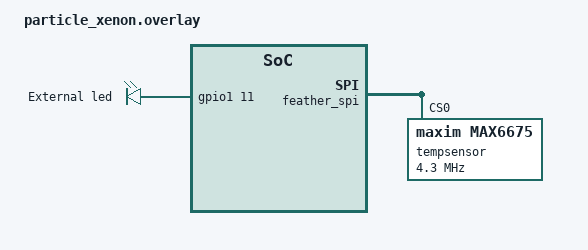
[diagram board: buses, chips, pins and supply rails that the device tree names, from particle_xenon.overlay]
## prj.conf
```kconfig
CONFIG_NCS_SAMPLES_DEFAULTS=y

# For math.h
CONFIG_NEWLIB_LIBC=y

# Bluetooth configs
CONFIG_BT=y
CONFIG_BT_PERIPHERAL=y
CONFIG_BT_MAX_CONN=2


#GPIO configs
CONFIG_GPIO=y

#Floating point number print 
CONFIG_CBPRINTF_FP_SUPPORT=y

#SPI
CONFIG_SPI=y

#SENSOR LIBRARY
CONFIG_SENSOR=y

#Debugging via RTT
CONFIG_USE_SEGGER_RTT=y
CONFIG_RTT_CONSOLE=y
CONFIG_UART_CONSOLE=n
```

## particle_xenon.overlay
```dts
// To get started, press Ctrl+Space to bring up the completion menu and view the available nodes.

// You can also use the buttons in the sidebar to perform actions on nodes.
// Actions currently available include:

// * Enabling / disabling the node
// * Adding the bus to a bus
// * Removing the node
// * Connecting ADC channels

// For more help, browse the DeviceTree documentation at https://docs.zephyrproject.org/latest/guides/dts/index.html
// You can also visit the nRF DeviceTree extension documentation at https://nrfconnect.github.io/vscode-nrf-connect/devicetree/nrfdevicetree.html

&feather_spi
 {
	tempsensor: max6675@0 {
		compatible = "maxim,max6675";
		reg = <0>;
		spi-max-frequency = <4300000>;
	};
};

/{
aliases {
	ledext = &ext_led;
};

leds {
	compatible = "gpio-leds";
	ext_led: led_0 {
		gpios = <&gpio1 11 GPIO_ACTIVE_HIGH>;
		label = "External led";
	};
};
};
```

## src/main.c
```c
/*
 * Copyright (c) 2012-2014 Wind River Systems, Inc.
 *
 * SPDX-License-Identifier: Apache-2.0
 */

#include <zephyr/kernel.h>

//For rounding
#include <math.h>

//bluetooth include files
#include <zephyr/bluetooth/bluetooth.h>
#include <zephyr/bluetooth/conn.h>
#include <zephyr/bluetooth/gatt.h>
#include <zephyr/bluetooth/services/bas.h>
#include <zephyr/bluetooth/uuid.h>

// Max6675 sensor include files
#include <zephyr/drivers/sensor.h>
#include <zephyr/device.h>



// Device name and device name length used in advertising data
#define DEVICE_NAME "Temperature Monitoring Device"
#define DEVICE_NAME_LEN (sizeof(DEVICE_NAME) - 1)

//GPIO
#include <zephyr/drivers/gpio.h>

#define LED1_NODE DT_ALIAS(ledext)
static const struct gpio_dt_spec led = GPIO_DT_SPEC_GET(LED1_NODE, gpios);

// Bluetooth advertising data
static const struct bt_data ad[] = {
    BT_DATA_BYTES(BT_DATA_FLAGS, (BT_LE_AD_GENERAL | BT_LE_AD_NO_BREDR)),
    BT_DATA(BT_DATA_NAME_COMPLETE, DEVICE_NAME, DEVICE_NAME_LEN),
};

// Service: temperature service UUID B9A4A778-4BD5-4FC9-9885-FEC0C5531307
static struct bt_uuid_128 temperature_service_uuid =
    BT_UUID_INIT_128(0x07, 0x13, 0x53, 0xC5, 0xC0, 0xFE, 0x85, 0x98, 0xC9, 0x4F, 0xD5, 0x4B, 0x78, 0xA7, 0xA4, 0xB9);

// Charasteristic: Temperature value UUID Charasteristic UUID B9A4A779-4BD5-4FC9-9885-FEC0C5531307
static struct bt_uuid_128 temp_value_uuid =
    BT_UUID_INIT_128(0x07, 0x13, 0x53, 0xC5, 0xC0, 0xFE, 0x85, 0x98, 0xC9, 0x4F, 0xD5, 0x4B, 0x79, 0xA7, 0xA4, 0xB9);

// When notification status is changed this function is called
int subsc = 0;
void on_cccd_changed(const struct bt_gatt_attr *attr, uint16_t value)
{
    ARG_UNUSED(attr);
    switch (value)
    {
    case BT_GATT_CCC_NOTIFY:

        subsc = 1;
        printk("bt_gatt sub %d", subsc);
        break;

    case 0:
        subsc = 0;
        printk("bt_gatt unsub %d", subsc);
        // Stop sending stuff
        break;

    default:
        printk("Error, CCCD has been set to an invalid value");
    }
}

// Instantiate the service and charasteristics
BT_GATT_SERVICE_DEFINE(
    // service
    temperature_service, BT_GATT_PRIMARY_SERVICE(&temperature_service_uuid),

    // Temperature value characteristic
    // properties:read
    BT_GATT_CHARACTERISTIC(&temp_value_uuid,
                           BT_GATT_CHRC_NOTIFY,
                           BT_GATT_PERM_READ,
                           NULL,
                           NULL,
                           NULL),
    BT_GATT_CCC(on_cccd_changed,
                BT_GATT_PERM_READ | BT_GATT_PERM_WRITE), );



struct bt_conn *my_connection;

// Connected callback function called when connected to device
static void connected_cb(struct bt_conn *conn, uint8_t err)
{
    my_connection = conn;

    if (err)
    {
        printk("Connection failed with err %d\n", err);
    }
    else
    {
        printk("Connection succesfull!");
    }
}

// Disconnected callback function
static void disconnected_cb(struct bt_conn *conn, uint8_t reason)
{
    printk("Disconnected with reason %d\n", reason);
}

// Connection callback structure
static struct bt_conn_cb conn_callbacks = {
    .connected = connected_cb,
    .disconnected = disconnected_cb,
};

// Measure ten values and return average of values
double averageMeasurement(const struct device *const dev){
        double avg = 0;
        double sum = 0;
        double values[] = {0.0, 0.0, 0.0, 0.0, 0.0, 0.0, 0.0, 0.0, 0.0, 0.0};
        double tempd;
        int ret;


        //Struct for sensor value
        struct sensor_value val;

        for(int i = 0; i < 10; i++){
            // Fetching sample
            ret = sensor_sample_fetch_chan(dev, SENSOR_CHAN_AMBIENT_TEMP);
            if (ret < 0)
            {
                printk("Could not fetch temperature (%d)\n", ret);

            }

            // Getting value
            ret = sensor_channel_get(dev, SENSOR_CHAN_AMBIENT_TEMP, &val);
            if (ret < 0)
            {
                printk("Could not get temperature (%d)\n", ret);

            }

            tempd = sensor_value_to_double(&val);
            values[i] = tempd;
            k_sleep(K_SECONDS(1));
        }

        for (int i = 0; i < 10; i++){
            sum = sum + values[i];

        }
        avg = sum / 10;
        return avg;
}

void main(void)
{
    // Temperature sensor (amplifier)
    const struct device *const dev = DEVICE_DT_GET_ONE(maxim_max6675);

    //For checking that temperature sensor is ready
    if (!device_is_ready(dev))
    {
        printk("Sensor: device not ready.\n");

    }

	int err;
	// Initialize the bluetooth stack
    err = bt_enable(NULL);
    if (err)
    {
        printk("Bluetooth init failed (err %d)\n", err);
        return;
    }
    printk("Bluetooth stack init succeess \n");

    // Register for connection callbacks
    bt_conn_cb_register(&conn_callbacks);
    if (err)
    {
        printk("Conn CB registration failed (err %d)\n", err);
        return;
    }

    // Start for advertising
    err = bt_le_adv_start(BT_LE_ADV_CONN, ad, ARRAY_SIZE(ad), NULL, 0);
    if (err)
    {
        printk("Advertising start failed with err %d\n", err);
        return;
    }

    printk("Bluetooth advertising started \n");

    //Configure led
    err = gpio_pin_configure_dt(&led, GPIO_OUTPUT_INACTIVE);
    if (err<0)
    {
        return;
    }



    while (1)
    {

        //If notifications are subsribed then send data
        if (subsc)
        {
            double AvgTempDouble = 0;
            int AvgInt = 0;

            //turn led on when measuring is started
            gpio_pin_set_dt(&led, 1);

            //Temperature average as double
            AvgTempDouble = averageMeasurement(dev);

            //Rounded temperature
            AvgInt = round(AvgTempDouble);
            printk("Rounded temperature: %d, Average temperature: %f \n\r",AvgInt, AvgTempDouble);
            
            //Send notification
            bt_gatt_notify(NULL, &temperature_service.attrs[2], &AvgInt, sizeof(AvgInt));

            //Turn led off when data is sent
            gpio_pin_set_dt(&led, 0);
        }
        
        //Sleep 50 seconds, measuring takes 10 seconds so total 60 second interval
        k_sleep(K_SECONDS(50));
    }
    
}
```
